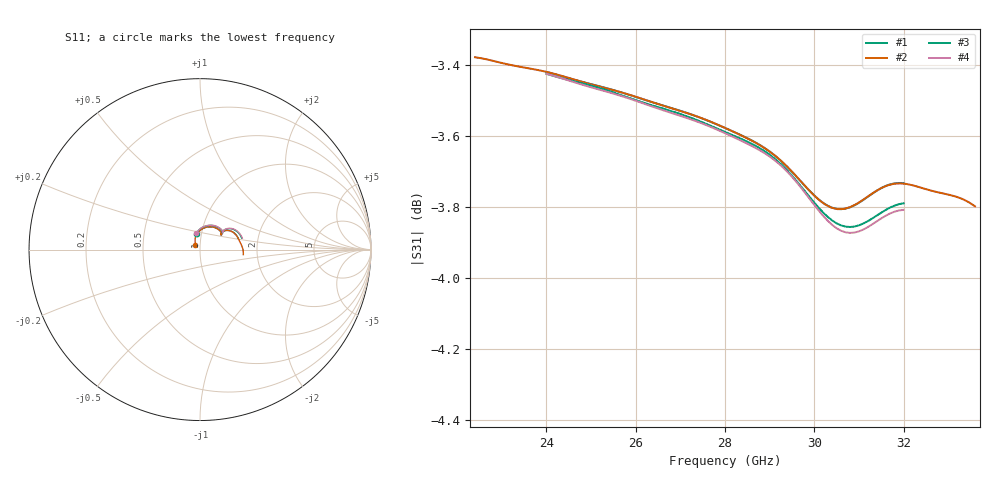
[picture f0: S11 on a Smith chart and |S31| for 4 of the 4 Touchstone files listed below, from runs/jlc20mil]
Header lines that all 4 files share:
# GHz S RI R 50
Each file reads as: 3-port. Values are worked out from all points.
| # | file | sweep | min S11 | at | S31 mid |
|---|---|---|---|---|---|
| 1 | coarse-validated.s3p | 24 GHz to 32 GHz | -20.9 dB | 24 GHz | -3.6 dB at 28 GHz |
| 2 | coarse.s3p | 22.4 GHz to 33.6 GHz | -28.2 dB | 22.4 GHz | -3.6 dB at 28 GHz |
| 3 | fine-validated.s3p | 24 GHz to 32 GHz | -20.4 dB | 24 GHz | -3.6 dB at 28 GHz |
| 4 | finer-validated.s3p | 24 GHz to 32 GHz | -20.3 dB | 24 GHz | -3.6 dB at 28 GHz |
